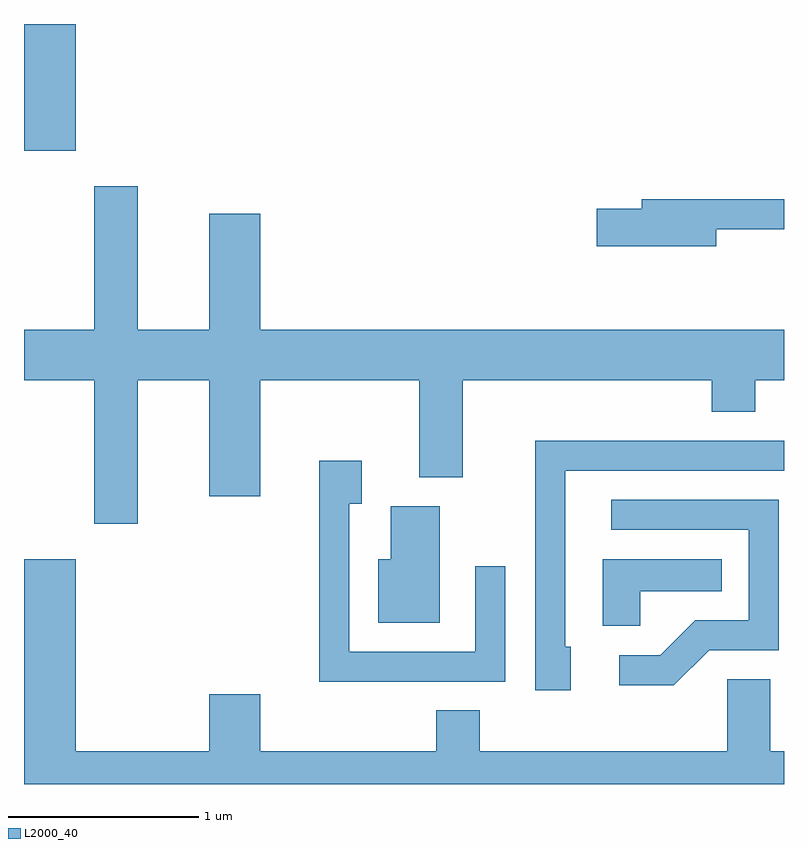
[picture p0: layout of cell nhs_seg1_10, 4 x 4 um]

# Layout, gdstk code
import gdstk
lib = gdstk.Library(unit=1e-6, precision=1e-09)
def R(c, l, rs):  # rectangles x0, y0, x1, y1
    for r in rs: c.add(gdstk.rectangle(r[:2], r[2:], *l))
def P(c, l, *ps):  # polygons
    for p in ps: c.add(gdstk.Polygon(p, *l))
L2000_40 = (2000, 40)

nhs_seg1_10 = lib.new_cell('nhs_seg1_10')
R(nhs_seg1_10, L2000_40, [(185.611,863.046,185.884,863.712)])
P(nhs_seg1_10, L2000_40, [(186.209,861.836),(186.586,861.836),(186.586,861.226),(186.854,861.226),(186.854,861.836),(187.691,861.836),(187.691,861.326),(187.919,861.326),(187.919,861.836),(189.231,861.836),(189.231,861.671),(189.459,861.671),(189.459,861.836),(189.611,861.836),(189.611,862.104),(186.854,862.104),(186.854,862.714),(186.586,862.714),(186.586,862.104),(186.209,862.104),(186.209,862.859),(185.981,862.859),(185.981,862.104),(185.611,862.104),(185.611,861.836),(185.981,861.836),(185.981,861.081),(186.209,861.081)],
  [(189.254,862.631),(189.611,862.631),(189.611,862.789),(188.861,862.789),(188.861,862.739),(188.626,862.739),(188.626,862.541),(189.254,862.541)],
  [(188.489,860.434),(188.459,860.434),(188.459,861.361),(189.611,861.361),(189.611,861.519),(188.301,861.519),(188.301,860.206),(188.489,860.206)],
  [(188.144,860.858),(187.986,860.858),(187.986,860.409),(187.324,860.409),(187.324,861.186),(187.389,861.186),(187.389,861.414),(187.166,861.414),(187.166,860.251),(188.144,860.251)],
  [(189.217,860.416),(189.584,860.416),(189.584,861.209),(188.703,861.209),(188.703,861.051),(189.426,861.051),(189.426,860.574),(189.144,860.574),(188.959,860.389),(188.743,860.389),(188.743,860.231),(189.032,860.231)],
  [(187.799,861.174),(187.541,861.174),(187.541,860.894),(187.476,860.894),(187.476,860.561),(187.799,860.561)],
  [(188.854,860.726),(189.283,860.726),(189.283,860.894),(188.656,860.894),(188.656,860.546),(188.854,860.546)],
  [(189.611,859.884),(189.539,859.884),(189.539,860.264),(189.311,860.264),(189.311,859.884),(188.009,859.884),(188.009,860.099),(187.781,860.099),(187.781,859.884),(186.854,859.884),(186.854,860.184),(186.586,860.184),(186.586,859.884),(185.884,859.884),(185.884,860.894),(185.611,860.894),(185.611,859.712),(189.611,859.712)])

lib.write_gds('nhs_seg1_10.gds')
